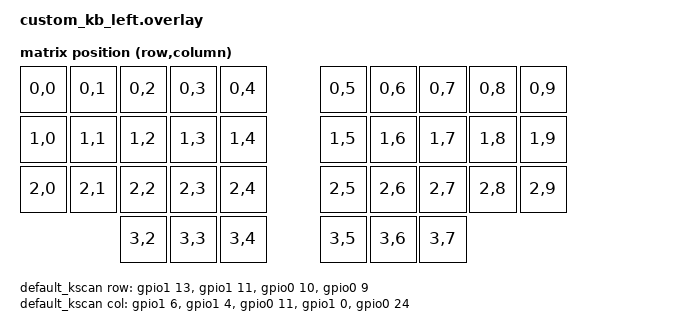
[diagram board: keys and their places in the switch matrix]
#include <dt-bindings/zmk/matrix_transform.h>

/ {
    chosen {
        zmk,kscan = &default_kscan;
        zmk,matrix-transform = &default_transform;
        zmk,physical-layout = &foostan_corne_5col_layout;
        zephyr,console = &cdc_acm_uart;
    };

    default_transform: matrix_transform {
        compatible = "zmk,matrix-transform";
        columns = <10>;
        rows = <4>;
        map = <
RC(0,0) RC(0,1) RC(0,2) RC(0,3) RC(0,4)  RC(0,5) RC(0,6) RC(0,7) RC(0,8) RC(0,9)
RC(1,0) RC(1,1) RC(1,2) RC(1,3) RC(1,4)  RC(1,5) RC(1,6) RC(1,7) RC(1,8) RC(1,9)
RC(2,0) RC(2,1) RC(2,2) RC(2,3) RC(2,4)  RC(2,5) RC(2,6) RC(2,7) RC(2,8) RC(2,9)
                RC(3,2) RC(3,3) RC(3,4)  RC(3,5) RC(3,6) RC(3,7)
        >;
    };

    default_kscan: kscan {
        compatible = "zmk,kscan-gpio-matrix";
        wakeup-source;

        diode-direction = "col2row";
        
        col-gpios
            = <&gpio1 6 GPIO_ACTIVE_HIGH>
            , <&gpio1 4 GPIO_ACTIVE_HIGH>
            , <&gpio0 11 GPIO_ACTIVE_HIGH>
            , <&gpio1 0 GPIO_ACTIVE_HIGH>
            , <&gpio0 24 GPIO_ACTIVE_HIGH>
            ;

        row-gpios
            = <&gpio1 13 (GPIO_ACTIVE_HIGH | GPIO_PULL_DOWN)>
            , <&gpio1 11 (GPIO_ACTIVE_HIGH | GPIO_PULL_DOWN)>
            , <&gpio0 10 (GPIO_ACTIVE_HIGH | GPIO_PULL_DOWN)>
            , <&gpio0 9 (GPIO_ACTIVE_HIGH | GPIO_PULL_DOWN)>
            ;
    };
};

&foostan_corne_5col_layout {
    transform = <&default_transform>;
    kscan = <&default_kscan>;
};

&zephyr_udc0 {
    cdc_acm_uart: cdc_acm_uart {
        compatible = "zephyr,cdc-acm-uart";
    };
};
